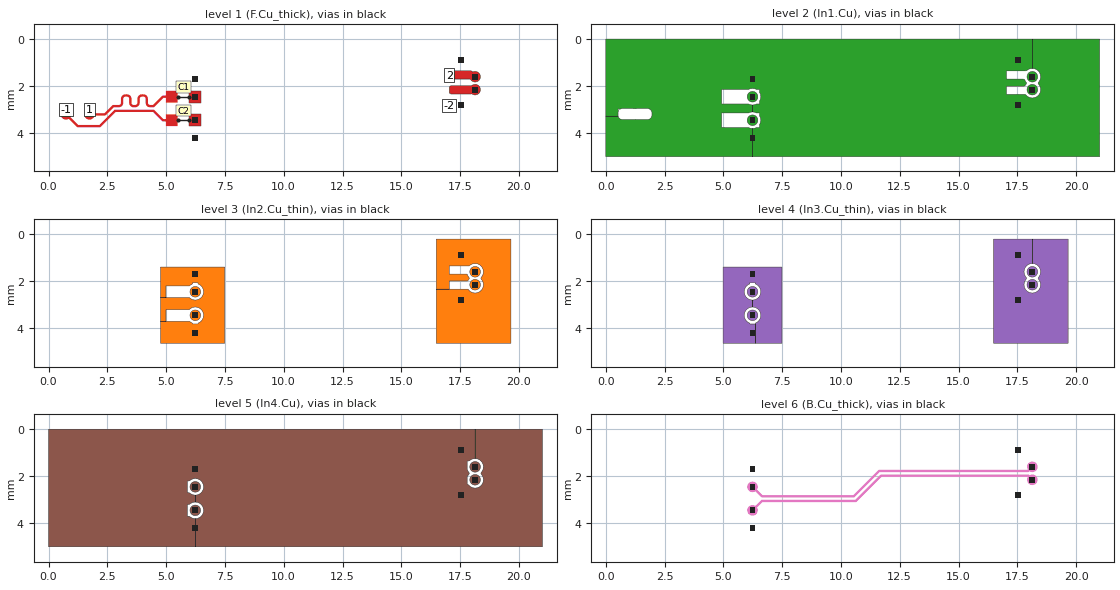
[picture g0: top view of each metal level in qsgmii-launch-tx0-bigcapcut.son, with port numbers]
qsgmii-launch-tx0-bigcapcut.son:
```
FTYP SONPROJ 19 ! Sonnet Project File
VER 18.56
HEADER
LIC antikernel2.1.65565
DAT 12/21/2024 04:26:57
BUILT_BY_CREATED xgeom 18.52 11/18/2021 20:28:07
BUILT_BY_SAVED sonnet 18.56
MDATE 12/21/2024 04:26:54
HDATE 12/21/2024 04:26:54
ANN Created by dxfgeo, Sonnet Software Inc.
END HEADER
DIM
ANG DEG
CAP PF
CON /OH
FREQ GHZ
IND NH
LNG MM
RES OH
END DIM
CONTROL
VARSWP
OPTIONS  -dj
SPEED 1
CACHE_ABS 2
Q_ACC N
END CONTROL
GEO
TMET "Free Space" 0 FREESPACE 376.7303136 0 0 0
BMET "Free Space" 0 FREESPACE 376.7303136 0 0 0
MET "Copper_1oz_thin" 1 NOR 58000000 0.5 0.035 
MET "Copper_1oz_thick" 2 TMM 58000000 0.5 0.035 2
MET "Copper_1oz_thick_down" 3 TMM 58000000 0.5 0.035 2 CDVY TDWN
MET "Copper_0.5oz_thin" 4 NOR 58000000 0.5 0.017 
MET "Copper_0.5oz_thick" 12 TMM 58000000 0.5 0.017 2
MET "Copper_0.5oz_thick_down" 5 TMM 58000000 0.5 0.017 2 CDVY TDWN
BOX 8 21 5 2100 500 20 0
      5 1 1 0 0 0 0 "Air"
      0.04 3.5 1 0.025 0 0 0 "Soldermask"
      0.076 4.49 1 0.016 0 0 0 "Shengyi_S1000-2M"
      0.1 4.49 1 0.016 0 0 0 "Shengyi_S1000-2M"
      1.038 4.49 1 0.016 0 0 0 "Shengyi_S1000-2M"
      0.1 4.49 1 0.016 0 0 0 "Shengyi_S1000-2M"
      0.076 4.49 1 0.016 0 0 0 "Shengyi_S1000-2M"
      0.04 3.5 1 0.025 0 0 0 "Soldermask"
      5 1 1 0 0 0 0 "Air"
TECHLAY METAL F.Cu_thick L1D0 -2 -65534 CAD F.Cu_thick drawing 
1 0 1 N 1184 1 1 100 100 0 0 0 Y
END
END
TECHLAY METAL F.Cu_thin <UNSPECIFIED> -1 -65534 CAD F.Cu_thin drawing 
1 0 0 N 1194 1 1 100 100 0 0 0 Y
END
END
TECHLAY VIA Via1 L7D0 -13 -65534 CAD Via1 drawing 
VIA POLYGON
1 0 -1 N 1196 1 1 100 100 0 0 0 Y
TOLEVEL 6 RING NOCOVERS
END
END
TECHLAY METAL In1.Cu L2D0 -3 -65534 CAD In1.Cu drawing 
2 0 0 N 1203 1 1 100 100 0 0 0 Y
END
END
TECHLAY METAL In2.Cu_thin L3D0 -4 -65534 CAD In2.Cu drawing 
3 0 3 N 1206 1 1 100 100 0 0 0 Y
END
END
TECHLAY METAL In2.Cu_thick <UNSPECIFIED> -5 -65534 CAD In2.Cu_thick drawing 
3 0 4 N 1208 1 1 100 100 0 0 0 Y
END
END
TECHLAY METAL In3.Cu_thin L4D0 -8 -65534 CAD In5.Cu drawing 
4 0 3 N 1211 1 1 100 100 0 0 0 Y
END
END
TECHLAY METAL In4.Cu L5D0 -10 -65534 CAD In6.Cu drawing 
5 0 0 N 1214 1 1 100 100 0 0 0 Y
END
END
TECHLAY METAL B.Cu_thick L6D0 -12 -65534 CAD B.Cu_thick drawing 
6 0 2 N 1217 1 1 100 100 0 0 0 Y
END
END
TECHLAY METAL B.Cu_thin <UNSPECIFIED> -11 -65534 CAD B.Cu_thin drawing 
6 0 0 N 1219 1 1 100 100 0 0 0 Y
END
END
TECHLAY METAL In3.Cu_thick <UNSPECIFIED> -9 -65534 CAD In5.Cu_thick drawing 
8 0 5 N 1223 1 1 100 100 0 0 0 Y
END
END
DIM STD XDIR 1
POS 1.592849197 -0.05143925188
NOM 1.62
REF1 POLY 1245 1
101
REF2 POLY 1245 1
131
END
DIM STD YDIR 1
POS 0.1470518023 0.4870316088
NOM 0.62
REF1 POLY 1245 1
131
REF2 POLY 1245 1
137
END
DIM STD XDIR 1
POS 1.592849197 -0.05143925188
NOM 1.62
REF1 POLY 1245 1
110
REF2 POLY 1245 1
116
END
DIM STD YDIR 1
POS 0.1470518023 0.4870316088
NOM 0.62
REF1 POLY 1245 1
116
REF2 POLY 1245 1
122
END
LORGN 0 5 U 
POR1 CUP Auto
GNDREF FLOAT
TERMW FEED
POLY 36 1
87
2 100 0 0 0 17.038 1.526 
CUPGRP "Auto" LOCAL
ID 1186
END
POR1 CUP Auto
GNDREF FLOAT
TERMW FEED
POLY 37 1
84
-2 100 0 0 0 17.038 2.161 
CUPGRP "Auto" LOCAL
ID 1188
END
POR1 CUP Auto
GNDREF FLOAT
TERMW FEED
POLY 1167 1
472
1 100 0 0 0 1.738 3 
CUPGRP "Auto" LOCAL
ID 1190
END
POR1 CUP Auto
GNDREF FLOAT
TERMW FEED
POLY 1168 1
52
-1 100 0 0 0 0.738 3 
CUPGRP "Auto" LOCAL
ID 1192
END
SMD 1 "C1"
ID 1141
GNDREF FLOAT
SBOX 5.613 5.863 2.4135 2.4885
PBSHW N
LPOS 5.738 2.4135
TYPE IDEAL CAP 100000
SMDP 1 5.488 2.451 L 3 1 
EXSMDP
GNDREF FLOAT
TERMW FEED
END EXSMDP
SMDP 1 5.988 2.451 R 4 2 
EXSMDP
GNDREF FLOAT
TERMW FEED
END EXSMDP
END
SMD 1 "C2"
ID 1146
GNDREF FLOAT
SBOX 5.613 5.863 3.4135 3.4885
PBSHW N
LPOS 5.738 3.4135
TYPE IDEAL CAP 100000
SMDP 1 5.488 3.451 L 5 1 
EXSMDP
GNDREF FLOAT
TERMW FEED
END EXSMDP
SMDP 1 5.988 3.451 R 6 2 
EXSMDP
GNDREF FLOAT
TERMW FEED
END EXSMDP
END
NUM 38
1 89 1 N 36 1 1 100 100 0 0 0 Y
TLAYNAM F.Cu_thick INH
17.038 1.434
17.039 1.426
17.041 1.417
17.043 1.409
17.046 1.401
17.05 1.394
17.055 1.386
17.073 1.368
17.081 1.363
17.088 1.359
17.096 1.356
17.104 1.354
17.113 1.352
17.121 1.351
17.955 1.351
17.963 1.352
17.972 1.354
17.98 1.356
17.988 1.359
17.995 1.363
18.003 1.368
18.021 1.386
18.026 1.394
18.03 1.401
18.031 1.404
18.042 1.398
18.062 1.389
18.083 1.383
18.105 1.378
18.127 1.376
18.149 1.376
18.171 1.378
18.193 1.383
18.214 1.389
18.234 1.398
18.254 1.408
18.272 1.42
18.289 1.434
18.305 1.45
18.319 1.467
18.331 1.485
18.341 1.505
18.35 1.525
18.356 1.546
18.361 1.568
18.363 1.59
18.363 1.612
18.361 1.634
18.356 1.656
18.35 1.677
18.341 1.697
18.331 1.717
18.319 1.735
18.305 1.752
18.289 1.768
18.272 1.782
18.254 1.794
18.234 1.804
18.214 1.813
18.193 1.819
18.171 1.824
18.149 1.826
18.127 1.826
18.105 1.824
18.083 1.819
18.062 1.813
18.042 1.804
18.022 1.794
18.004 1.782
17.987 1.768
17.971 1.752
17.957 1.735
17.945 1.717
17.937 1.701
17.121 1.701
17.113 1.7
17.104 1.698
17.096 1.696
17.088 1.693
17.081 1.689
17.073 1.684
17.055 1.666
17.05 1.658
17.046 1.651
17.043 1.643
17.041 1.635
17.039 1.626
17.038 1.618
17.038 1.434
END
1 86 1 N 37 1 1 100 100 0 0 0 Y
TLAYNAM F.Cu_thick INH
17.038 2.069
17.039 2.061
17.041 2.052
17.043 2.044
17.046 2.036
17.05 2.029
17.055 2.021
17.073 2.003
17.081 1.998
17.088 1.994
17.096 1.991
17.104 1.989
17.113 1.987
17.121 1.986
17.955 1.986
17.963 1.987
17.972 1.989
17.98 1.991
17.987 1.984
18.004 1.97
18.022 1.958
18.042 1.948
18.062 1.939
18.083 1.933
18.105 1.928
18.127 1.926
18.149 1.926
18.171 1.928
18.193 1.933
18.214 1.939
18.234 1.948
18.254 1.958
18.272 1.97
18.289 1.984
18.305 2
18.319 2.017
18.331 2.035
18.341 2.055
18.35 2.075
18.356 2.096
18.361 2.118
18.363 2.14
18.363 2.162
18.361 2.184
18.356 2.206
18.35 2.227
18.341 2.247
18.331 2.267
18.319 2.285
18.305 2.302
18.289 2.318
18.272 2.332
18.254 2.344
18.234 2.354
18.214 2.363
18.193 2.369
18.171 2.374
18.149 2.376
18.127 2.376
18.105 2.374
18.083 2.369
18.062 2.363
18.042 2.354
18.022 2.344
18.004 2.332
17.995 2.324
17.988 2.328
17.98 2.331
17.972 2.333
17.963 2.335
17.955 2.336
17.121 2.336
17.113 2.335
17.104 2.333
17.096 2.331
17.088 2.328
17.081 2.324
17.073 2.319
17.055 2.301
17.05 2.293
17.046 2.286
17.043 2.278
17.041 2.27
17.039 2.261
17.038 2.253
17.038 2.069
END
1 5 1 N 97 1 1 100 100 0 0 0 Y
TLAYNAM F.Cu_thick INH
5.988 2.201
6.488 2.201
6.488 2.701
5.988 2.701
5.988 2.201
END
1 5 1 N 98 1 1 100 100 0 0 0 Y
TLAYNAM F.Cu_thick INH
5.988 3.201
6.488 3.201
6.488 3.701
5.988 3.701
5.988 3.201
END
1 495 1 N 1167 1 1 100 100 0 0 0 Y
TLAYNAM F.Cu_thick INH
1.771 3.424
1.793 3.419
1.814 3.413
1.834 3.404
1.854 3.394
1.872 3.382
1.889 3.368
1.905 3.352
1.919 3.335
1.931 3.317
1.941 3.297
1.95 3.277
1.956 3.256
1.957 3.251
2.404 3.251
2.409 3.25
2.414 3.248
2.418 3.246
2.423 3.244
2.431 3.238
2.768 2.901
2.992 2.901
2.996 2.9
2.997 2.9
3.015 2.898
3.02 2.898
3.025 2.897
3.03 2.895
3.05 2.889
3.051 2.889
3.056 2.887
3.06 2.885
3.065 2.883
3.068 2.881
3.079 2.875
3.08 2.875
3.084 2.873
3.089 2.87
3.093 2.868
3.118 2.847
3.121 2.844
3.122 2.844
3.136 2.826
3.139 2.823
3.145 2.815
3.147 2.81
3.149 2.806
3.158 2.79
3.162 2.782
3.164 2.777
3.165 2.772
3.172 2.75
3.173 2.745
3.173 2.731
3.174 2.723
3.174 2.722
3.175 2.718
3.175 2.53
3.176 2.525
3.182 2.504
3.183 2.501
3.185 2.497
3.197 2.479
3.207 2.469
3.226 2.457
3.232 2.454
3.25 2.45
3.272 2.448
3.328 2.448
3.353 2.45
3.371 2.456
3.384 2.463
3.399 2.475
3.412 2.49
3.416 2.497
3.417 2.501
3.422 2.517
3.425 2.545
3.425 2.718
3.426 2.721
3.426 2.723
3.427 2.742
3.428 2.747
3.431 2.753
3.432 2.756
3.435 2.768
3.436 2.774
3.436 2.775
3.437 2.778
3.438 2.779
3.447 2.797
3.447 2.799
3.449 2.803
3.45 2.804
3.452 2.808
3.452 2.809
3.455 2.813
3.456 2.814
3.468 2.832
3.472 2.835
3.475 2.839
3.478 2.841
3.484 2.847
3.486 2.85
3.487 2.851
3.488 2.851
3.491 2.854
3.491 2.855
3.493 2.856
3.494 2.858
3.499 2.861
3.51 2.868
3.511 2.869
3.513 2.872
3.517 2.874
3.522 2.877
3.548 2.889
3.553 2.891
3.558 2.892
3.574 2.896
3.576 2.897
3.579 2.898
3.58 2.898
3.585 2.899
3.595 2.899
3.603 2.9
3.608 2.901
3.692 2.901
3.696 2.9
3.697 2.9
3.715 2.898
3.72 2.898
3.725 2.897
3.73 2.895
3.75 2.889
3.751 2.889
3.756 2.887
3.76 2.885
3.765 2.883
3.768 2.881
3.779 2.875
3.78 2.875
3.784 2.873
3.789 2.87
3.793 2.868
3.818 2.847
3.821 2.844
3.822 2.844
3.836 2.826
3.839 2.823
3.845 2.815
3.847 2.81
3.849 2.806
3.858 2.79
3.862 2.782
3.864 2.777
3.865 2.772
3.872 2.75
3.873 2.745
3.873 2.731
3.874 2.723
3.874 2.722
3.875 2.718
3.875 2.546
3.877 2.52
3.883 2.502
3.89 2.489
3.898 2.479
3.918 2.462
3.93 2.456
3.948 2.45
3.972 2.448
4.028 2.448
4.053 2.45
4.071 2.456
4.084 2.463
4.099 2.475
4.112 2.49
4.116 2.497
4.117 2.501
4.122 2.517
4.125 2.545
4.125 2.718
4.126 2.721
4.126 2.723
4.127 2.742
4.128 2.747
4.131 2.753
4.132 2.756
4.135 2.768
4.136 2.774
4.136 2.775
4.137 2.778
4.138 2.779
4.147 2.797
4.147 2.799
4.149 2.803
4.15 2.804
4.152 2.808
4.152 2.809
4.155 2.813
4.156 2.814
4.168 2.832
4.172 2.835
4.175 2.839
4.178 2.841
4.184 2.847
4.186 2.85
4.187 2.851
4.188 2.851
4.191 2.854
4.191 2.855
4.193 2.856
4.194 2.858
4.199 2.861
4.21 2.868
4.211 2.869
4.213 2.872
4.217 2.874
4.222 2.877
4.248 2.889
4.253 2.891
4.258 2.892
4.274 2.896
4.276 2.897
4.279 2.898
4.28 2.898
4.285 2.899
4.295 2.899
4.303 2.9
4.308 2.901
4.47 2.901
4.475 2.9
4.48 2.898
4.484 2.896
4.489 2.894
4.497 2.888
4.884 2.501
4.988 2.501
4.988 2.701
5.488 2.701
5.488 2.201
4.988 2.201
4.988 2.401
4.856 2.401
4.851 2.402
4.846 2.404
4.842 2.406
4.837 2.408
4.829 2.414
4.442 2.801
4.322 2.801
4.3 2.799
4.282 2.795
4.276 2.792
4.257 2.78
4.247 2.77
4.235 2.752
4.233 2.748
4.232 2.745
4.226 2.724
4.225 2.718
4.225 2.531
4.224 2.527
4.224 2.526
4.223 2.518
4.223 2.504
4.222 2.499
4.215 2.477
4.214 2.472
4.212 2.467
4.208 2.459
4.199 2.443
4.197 2.439
4.195 2.434
4.189 2.426
4.186 2.423
4.172 2.405
4.171 2.405
4.168 2.402
4.143 2.381
4.139 2.379
4.134 2.376
4.13 2.374
4.129 2.374
4.118 2.368
4.115 2.366
4.11 2.364
4.106 2.362
4.075 2.352
4.07 2.351
4.065 2.351
4.047 2.349
4.046 2.349
4.042 2.348
3.958 2.348
3.954 2.349
3.953 2.349
3.931 2.351
3.93 2.351
3.926 2.352
3.921 2.354
3.918 2.355
3.915 2.355
3.905 2.359
3.903 2.359
3.9 2.36
3.89 2.364
3.886 2.366
3.883 2.368
3.871 2.375
3.867 2.377
3.862 2.379
3.854 2.385
3.851 2.388
3.841 2.396
3.84 2.396
3.832 2.402
3.829 2.405
3.808 2.43
3.806 2.434
3.803 2.439
3.801 2.443
3.801 2.444
3.795 2.455
3.793 2.458
3.791 2.463
3.789 2.467
3.787 2.472
3.787 2.473
3.779 2.498
3.779 2.499
3.778 2.504
3.778 2.508
3.776 2.526
3.776 2.527
3.775 2.531
3.775 2.704
3.772 2.732
3.767 2.748
3.766 2.752
3.762 2.759
3.749 2.774
3.734 2.786
3.721 2.793
3.703 2.799
3.678 2.801
3.622 2.801
3.6 2.799
3.582 2.795
3.576 2.792
3.557 2.78
3.547 2.77
3.535 2.752
3.533 2.748
3.532 2.745
3.526 2.724
3.525 2.718
3.525 2.531
3.524 2.527
3.524 2.526
3.523 2.518
3.523 2.504
3.522 2.499
3.515 2.477
3.514 2.472
3.512 2.467
3.508 2.459
3.499 2.443
3.497 2.439
3.495 2.434
3.489 2.426
3.486 2.423
3.472 2.405
3.471 2.405
3.468 2.402
3.443 2.381
3.439 2.379
3.434 2.376
3.43 2.374
3.429 2.374
3.418 2.368
3.415 2.366
3.41 2.364
3.406 2.362
3.401 2.36
3.4 2.36
3.38 2.354
3.375 2.352
3.37 2.351
3.365 2.351
3.347 2.349
3.346 2.349
3.342 2.348
3.258 2.348
3.253 2.349
3.245 2.35
3.235 2.35
3.23 2.351
3.229 2.351
3.226 2.352
3.224 2.353
3.208 2.357
3.203 2.358
3.198 2.36
3.172 2.372
3.167 2.375
3.163 2.377
3.161 2.38
3.16 2.381
3.149 2.388
3.144 2.391
3.143 2.393
3.141 2.394
3.141 2.395
3.138 2.397
3.136 2.399
3.134 2.402
3.128 2.408
3.125 2.41
3.122 2.414
3.118 2.417
3.106 2.435
3.105 2.436
3.102 2.44
3.102 2.441
3.1 2.445
3.099 2.446
3.097 2.45
3.097 2.452
3.088 2.47
3.087 2.471
3.086 2.474
3.086 2.475
3.085 2.481
3.082 2.493
3.081 2.496
3.078 2.502
3.077 2.507
3.076 2.526
3.076 2.528
3.075 2.531
3.075 2.704
3.072 2.732
3.067 2.748
3.066 2.752
3.062 2.759
3.049 2.774
3.034 2.786
3.021 2.793
3.003 2.799
2.978 2.801
2.739 2.801
2.734 2.802
2.729 2.804
2.725 2.806
2.72 2.808
2.716 2.811
2.713 2.814
2.709 2.817
2.706 2.821
2.376 3.151
1.957 3.151
1.956 3.146
1.95 3.125
1.941 3.105
1.931 3.085
1.919 3.067
1.905 3.05
1.889 3.034
1.872 3.02
1.854 3.008
1.838 3
1.638 3
1.622 3.008
1.604 3.02
1.587 3.034
1.571 3.05
1.557 3.067
1.545 3.085
1.54 3.095
1.54 3.307
1.545 3.317
1.557 3.335
1.571 3.352
1.587 3.368
1.604 3.382
1.622 3.394
1.642 3.404
1.662 3.413
1.683 3.419
1.705 3.424
1.727 3.426
1.749 3.426
1.771 3.424
END
1 87 1 N 1168 1 1 100 100 0 0 0 Y
TLAYNAM F.Cu_thick INH
2.192 3.75
2.196 3.748
2.201 3.746
2.205 3.744
2.217 3.735
2.22 3.731
2.85 3.101
4.442 3.101
4.829 3.488
4.837 3.494
4.842 3.496
4.846 3.498
4.851 3.5
4.856 3.501
4.988 3.501
4.988 3.701
5.488 3.701
5.488 3.201
4.988 3.201
4.988 3.401
4.884 3.401
4.497 3.014
4.489 3.008
4.484 3.006
4.48 3.004
4.475 3.002
4.47 3.001
2.822 3.001
2.817 3.002
2.812 3.004
2.808 3.006
2.803 3.008
2.795 3.014
2.158 3.651
1.259 3.651
0.929 3.321
0.941 3.297
0.95 3.277
0.956 3.256
0.961 3.234
0.963 3.212
0.963 3.19
0.961 3.168
0.956 3.146
0.95 3.125
0.941 3.105
0.931 3.085
0.919 3.067
0.905 3.05
0.889 3.034
0.872 3.02
0.854 3.008
0.838 3
0.638 3
0.622 3.008
0.604 3.02
0.587 3.034
0.571 3.05
0.557 3.067
0.545 3.085
0.54 3.095
0.54 3.307
0.545 3.317
0.557 3.335
0.571 3.352
0.587 3.368
0.604 3.382
0.622 3.394
0.642 3.404
0.662 3.413
0.683 3.419
0.705 3.424
0.727 3.426
0.749 3.426
0.771 3.424
0.793 3.419
0.814 3.413
0.834 3.404
0.858 3.392
1.204 3.738
1.212 3.744
1.217 3.746
1.221 3.748
1.226 3.75
1.231 3.751
2.187 3.751
2.192 3.75
END
VIA POLYGON
1 5 -1 N 806 1 1 100 100 0 0 0 Y
TOLEVEL 6 RING NOCOVERS
TLAYNAM Via1 INH
17.413 0.766
17.663 0.766
17.663 1.016
17.413 1.016
17.413 0.766
END
VIA POLYGON
1 5 -1 N 807 1 1 100 100 0 0 0 Y
TOLEVEL 6 RING NOCOVERS
TLAYNAM Via1 INH
17.413 2.671
17.663 2.671
17.663 2.921
17.413 2.921
17.413 2.671
END
VIA POLYGON
1 5 -1 N 811 1 1 100 100 0 0 0 Y
TOLEVEL 6 RING NOCOVERS
TLAYNAM Via1 INH
18.013 1.476
18.263 1.476
18.263 1.726
18.013 1.726
18.013 1.476
END
VIA POLYGON
1 5 -1 N 812 1 1 100 100 0 0 0 Y
TOLEVEL 6 RING NOCOVERS
TLAYNAM Via1 INH
18.013 2.026
18.263 2.026
18.263 2.276
18.013 2.276
18.013 2.026
END
VIA POLYGON
1 5 -1 N 865 1 1 100 100 0 0 0 Y
TOLEVEL 6 RING NOCOVERS
TLAYNAM Via1 INH
6.113 1.576
6.363 1.576
6.363 1.826
6.113 1.826
6.113 1.576
END
VIA POLYGON
1 5 -1 N 866 1 1 100 100 0 0 0 Y
TOLEVEL 6 RING NOCOVERS
TLAYNAM Via1 INH
6.113 2.326
6.363 2.326
6.363 2.576
6.113 2.576
6.113 2.326
END
VIA POLYGON
1 5 -1 N 867 1 1 100 100 0 0 0 Y
TOLEVEL 6 RING NOCOVERS
TLAYNAM Via1 INH
6.113 3.326
6.363 3.326
6.363 3.576
6.113 3.576
6.113 3.326
END
VIA POLYGON
1 5 -1 N 868 1 1 100 100 0 0 0 Y
TOLEVEL 6 RING NOCOVERS
TLAYNAM Via1 INH
6.113 4.076
6.363 4.076
6.363 4.326
6.113 4.326
6.113 4.076
END
2 65 0 N 309 1 1 100 100 0 0 0 Y
TLAYNAM In1.Cu INH
6.013 2.44
6.015 2.418
6.02 2.396
6.026 2.375
6.035 2.355
6.045 2.335
6.057 2.317
6.071 2.3
6.087 2.284
6.104 2.27
6.122 2.258
6.142 2.248
6.162 2.239
6.183 2.233
6.205 2.228
6.227 2.226
6.249 2.226
6.271 2.228
6.293 2.233
6.314 2.239
6.334 2.248
6.354 2.258
6.372 2.27
6.389 2.284
6.405 2.3
6.419 2.317
6.431 2.335
6.441 2.355
6.45 2.375
6.456 2.396
6.461 2.418
6.463 2.44
6.463 2.462
6.461 2.484
6.456 2.506
6.45 2.527
6.441 2.547
6.431 2.567
6.419 2.585
6.405 2.602
6.389 2.618
6.372 2.632
6.354 2.644
6.334 2.654
6.314 2.663
6.293 2.669
6.271 2.674
6.249 2.676
6.227 2.676
6.205 2.674
6.183 2.669
6.162 2.663
6.142 2.654
6.122 2.644
6.104 2.632
6.087 2.618
6.071 2.602
6.057 2.585
6.045 2.567
6.035 2.547
6.026 2.527
6.02 2.506
6.015 2.484
6.013 2.462
6.013 2.44
END
2 65 0 N 310 1 1 100 100 0 0 0 Y
TLAYNAM In1.Cu INH
6.013 3.44
6.015 3.418
6.02 3.396
6.026 3.375
6.035 3.355
6.045 3.335
6.057 3.317
6.071 3.3
6.087 3.284
6.104 3.27
6.122 3.258
6.142 3.248
6.162 3.239
6.183 3.233
6.205 3.228
6.227 3.226
6.249 3.226
6.271 3.228
6.293 3.233
6.314 3.239
6.334 3.248
6.354 3.258
6.372 3.27
6.389 3.284
6.405 3.3
6.419 3.317
6.431 3.335
6.441 3.355
6.45 3.375
6.456 3.396
6.461 3.418
6.463 3.44
6.463 3.462
6.461 3.484
6.456 3.506
6.45 3.527
6.441 3.547
6.431 3.567
6.419 3.585
6.405 3.602
6.389 3.618
6.372 3.632
6.354 3.644
6.334 3.654
6.314 3.663
6.293 3.669
6.271 3.674
6.249 3.676
6.227 3.676
6.205 3.674
6.183 3.669
6.162 3.663
6.142 3.654
6.122 3.644
6.104 3.632
6.087 3.618
6.071 3.602
6.057 3.585
6.045 3.567
6.035 3.547
6.026 3.527
6.02 3.506
6.015 3.484
6.013 3.462
6.013 3.44
END
2 65 0 N 315 1 1 100 100 0 0 0 Y
TLAYNAM In1.Cu INH
17.913 1.59
17.915 1.568
17.92 1.546
17.926 1.525
17.935 1.505
17.945 1.485
17.957 1.467
17.971 1.45
17.987 1.434
18.004 1.42
18.022 1.408
18.042 1.398
18.062 1.389
18.083 1.383
18.105 1.378
18.127 1.376
18.149 1.376
18.171 1.378
18.193 1.383
18.214 1.389
18.234 1.398
18.254 1.408
18.272 1.42
18.289 1.434
18.305 1.45
18.319 1.467
18.331 1.485
18.341 1.505
18.35 1.525
18.356 1.546
18.361 1.568
18.363 1.59
18.363 1.612
18.361 1.634
18.356 1.656
18.35 1.677
18.341 1.697
18.331 1.717
18.319 1.735
18.305 1.752
18.289 1.768
18.272 1.782
18.254 1.794
18.234 1.804
18.214 1.813
18.193 1.819
18.171 1.824
18.149 1.826
18.127 1.826
18.105 1.824
18.083 1.819
18.062 1.813
18.042 1.804
18.022 1.794
18.004 1.782
17.987 1.768
17.971 1.752
17.957 1.735
17.945 1.717
17.935 1.697
17.926 1.677
17.92 1.656
17.915 1.634
17.913 1.612
17.913 1.59
END
2 65 0 N 316 1 1 100 100 0 0 0 Y
TLAYNAM In1.Cu INH
17.913 2.14
17.915 2.118
17.92 2.096
17.926 2.075
17.935 2.055
17.945 2.035
17.957 2.017
17.971 2
17.987 1.984
18.004 1.97
18.022 1.958
18.042 1.948
18.062 1.939
18.083 1.933
18.105 1.928
18.127 1.926
18.149 1.926
18.171 1.928
18.193 1.933
18.214 1.939
18.234 1.948
18.254 1.958
18.272 1.97
18.289 1.984
18.305 2
18.319 2.017
18.331 2.035
18.341 2.055
18.35 2.075
18.356 2.096
18.361 2.118
18.363 2.14
18.363 2.162
18.361 2.184
18.356 2.206
18.35 2.227
18.341 2.247
18.331 2.267
18.319 2.285
18.305 2.302
18.289 2.318
18.272 2.332
18.254 2.344
18.234 2.354
18.214 2.363
18.193 2.369
18.171 2.374
18.149 2.376
18.127 2.376
18.105 2.374
18.083 2.369
18.062 2.363
18.042 2.354
18.022 2.344
18.004 2.332
17.987 2.318
17.971 2.302
17.957 2.285
17.945 2.267
17.935 2.247
17.926 2.227
17.92 2.206
17.915 2.184
17.913 2.162
17.913 2.14
END
2 145 0 N 1245 1 1 100 100 0 0 0 Y
TLAYNAM In1.Cu INH
21 4.64
21 0.46
21 0
18.138 0
18.138 1.246
18.248 1.263
18.347 1.314
18.425 1.392
18.476 1.491
18.493 1.601
18.476 1.711
18.425 1.81
18.402 1.833
18.384 1.876
18.402 1.919
18.425 1.942
18.476 2.041
18.493 2.151
18.476 2.261
18.425 2.36
18.347 2.438
18.321 2.451
18.248 2.489
18.138 2.506
18.028 2.489
17.965 2.456
17.929 2.438
17.86 2.369
17.817 2.351
17.038 2.351
17.038 2.001
17.783 2.001
17.802 1.998
17.838 1.967
17.851 1.942
17.874 1.919
17.892 1.876
17.874 1.833
17.851 1.81
17.813 1.735
17.801 1.719
17.758 1.701
17.038 1.701
17.038 1.351
17.867 1.351
17.91 1.333
17.929 1.314
18.028 1.263
18.138 1.246
18.138 0
0 0
0 3.277166667
0.52 3.277166667
0.52 3.099631579
0.534 3.065
0.536 3.06
0.532 3.013
0.52 3.003
0.52 2.951
0.5368235294 2.951
0.564 2.979
0.611 2.979
0.674 2.953
0.713 2.951
1.188 2.951
1.188 2.96
1.288 2.96
1.288 2.951
1.763 2.951
1.802 2.953
1.875 2.983
1.931 3.039
1.961 3.112
1.962 3.139
1.963 3.151
1.963 3.226
1.962 3.239
1.961 3.265
1.931 3.338
1.875 3.394
1.802 3.424
1.763 3.426
1.288 3.426
1.288 3.42
1.188 3.42
1.188 3.426
0.713 3.426
0.674 3.424
0.601 3.394
0.545 3.338
0.52 3.277166667
0 3.277166667
0 3.277166667
0 3.84
0 5
6.238 5
6.238 3.806
6.128 3.789
6.103 3.776
6.071842105 3.76
4.92 3.76
4.92 3.14
6.075588235 3.14
6.128 3.113
6.238 3.096
6.238 2.806
6.128 2.789
6.103 2.776
6.071842105 2.76
4.92 2.76
4.92 2.14
6.075588235 2.14
6.128 2.113
6.238 2.096
6.348 2.113
6.400411765 2.14
6.54 2.14
6.54 2.271117647
6.576 2.341
6.593 2.451
6.576 2.561
6.54 2.630882353
6.54 2.76
6.403628571 2.76
6.378 2.773
6.348 2.789
6.238 2.806
6.238 2.806
6.238 3.096
6.348 3.113
6.400411765 3.14
6.54 3.14
6.54 3.271117647
6.576 3.341
6.593 3.451
6.576 3.561
6.54 3.630882353
6.54 3.76
6.403628571 3.76
6.378 3.773
6.348 3.789
6.238 3.806
6.238 5
21 5
21 4.64
END
3 65 3 N 1124 1 1 100 100 0 0 0 Y
TLAYNAM In2.Cu_thin INH
6.013 2.44
6.015 2.418
6.02 2.396
6.026 2.375
6.035 2.355
6.045 2.335
6.057 2.317
6.071 2.3
6.087 2.284
6.104 2.27
6.122 2.258
6.142 2.248
6.162 2.239
6.183 2.233
6.205 2.228
6.227 2.226
6.249 2.226
6.271 2.228
6.293 2.233
6.314 2.239
6.334 2.248
6.354 2.258
6.372 2.27
6.389 2.284
6.405 2.3
6.419 2.317
6.431 2.335
6.441 2.355
6.45 2.375
6.456 2.396
6.461 2.418
6.463 2.44
6.463 2.462
6.461 2.484
6.456 2.506
6.45 2.527
6.441 2.547
6.431 2.567
6.419 2.585
6.405 2.602
6.389 2.618
6.372 2.632
6.354 2.644
6.334 2.654
6.314 2.663
6.293 2.669
6.271 2.674
6.249 2.676
6.227 2.676
6.205 2.674
6.183 2.669
6.162 2.663
6.142 2.654
6.122 2.644
6.104 2.632
6.087 2.618
6.071 2.602
6.057 2.585
6.045 2.567
6.035 2.547
6.026 2.527
6.02 2.506
6.015 2.484
6.013 2.462
6.013 2.44
END
3 65 3 N 1127 1 1 100 100 0 0 0 Y
TLAYNAM In2.Cu_thin INH
17.913 2.14
17.915 2.118
17.92 2.096
17.926 2.075
17.935 2.055
17.945 2.035
17.957 2.017
17.971 2
17.987 1.984
18.004 1.97
18.022 1.958
18.042 1.948
18.062 1.939
18.083 1.933
18.105 1.928
18.127 1.926
18.149 1.926
18.171 1.928
18.193 1.933
18.214 1.939
18.234 1.948
18.254 1.958
18.272 1.97
18.289 1.984
18.305 2
18.319 2.017
18.331 2.035
18.341 2.055
18.35 2.075
18.356 2.096
18.361 2.118
18.363 2.14
18.363 2.162
18.361 2.184
18.356 2.206
18.35 2.227
18.341 2.247
18.331 2.267
18.319 2.285
18.305 2.302
18.289 2.318
18.272 2.332
18.254 2.344
18.234 2.354
18.214 2.363
18.193 2.369
18.171 2.374
18.149 2.376
18.127 2.376
18.105 2.374
18.083 2.369
18.062 2.363
18.042 2.354
18.022 2.344
18.004 2.332
17.987 2.318
17.971 2.302
17.957 2.285
17.945 2.267
17.935 2.247
17.926 2.227
17.92 2.206
17.915 2.184
17.913 2.162
17.913 2.14
END
3 65 3 N 1128 1 1 100 100 0 0 0 Y
TLAYNAM In2.Cu_thin INH
6.013 3.44
6.015 3.418
6.02 3.396
6.026 3.375
6.035 3.355
6.045 3.335
6.057 3.317
6.071 3.3
6.087 3.284
6.104 3.27
6.122 3.258
6.142 3.248
6.162 3.239
6.183 3.233
6.205 3.228
6.227 3.226
6.249 3.226
6.271 3.228
6.293 3.233
6.314 3.239
6.334 3.248
6.354 3.258
6.372 3.27
6.389 3.284
6.405 3.3
6.419 3.317
6.431 3.335
6.441 3.355
6.45 3.375
6.456 3.396
6.461 3.418
6.463 3.44
6.463 3.462
6.461 3.484
6.456 3.506
6.45 3.527
6.441 3.547
6.431 3.567
6.419 3.585
6.405 3.602
6.389 3.618
6.372 3.632
6.354 3.644
6.334 3.654
6.314 3.663
6.293 3.669
6.271 3.674
6.249 3.676
6.227 3.676
6.205 3.674
6.183 3.669
6.162 3.663
6.142 3.654
6.122 3.644
6.104 3.632
6.087 3.618
6.071 3.602
6.057 3.585
6.045 3.567
6.035 3.547
6.026 3.527
6.02 3.506
6.015 3.484
6.013 3.462
6.013 3.44
END
3 65 3 N 1129 1 1 100 100 0 0 0 Y
TLAYNAM In2.Cu_thin INH
17.913 1.59
17.915 1.568
17.92 1.546
17.926 1.525
17.935 1.505
17.945 1.485
17.957 1.467
17.971 1.45
17.987 1.434
18.004 1.42
18.022 1.408
18.042 1.398
18.062 1.389
18.083 1.383
18.105 1.378
18.127 1.376
18.149 1.376
18.171 1.378
18.193 1.383
18.214 1.389
18.234 1.398
18.254 1.408
18.272 1.42
18.289 1.434
18.305 1.45
18.319 1.467
18.331 1.485
18.341 1.505
18.35 1.525
18.356 1.546
18.361 1.568
18.363 1.59
18.363 1.612
18.361 1.634
18.356 1.656
18.35 1.677
18.341 1.697
18.331 1.717
18.319 1.735
18.305 1.752
18.289 1.768
18.272 1.782
18.254 1.794
18.234 1.804
18.214 1.813
18.193 1.819
18.171 1.824
18.149 1.826
18.127 1.826
18.105 1.824
18.083 1.819
18.062 1.813
18.042 1.804
18.022 1.794
18.004 1.782
17.987 1.768
17.971 1.752
17.957 1.735
17.945 1.717
17.935 1.697
17.926 1.677
17.92 1.656
17.915 1.634
17.913 1.612
17.913 1.59
END
3 68 3 N 1231 1 1 100 100 0 0 0 Y
TLAYNAM In2.Cu_thin INH
7.488 1.4
4.76 1.4
4.76 2.701
4.988 2.701
4.988 2.201
5.992 2.201
6.029 2.164
6.094 2.131
6.121 2.104
6.124744681 2.06
6.353978723 2.06
6.351 2.095
6.382 2.131
6.447 2.164
6.484 2.201
6.488 2.201
6.488 2.205
6.525 2.242
6.576 2.341
6.593 2.451
6.576 2.561
6.525 2.66
6.488 2.697
6.488 2.701
6.484 2.701
6.447 2.738
6.378 2.773
6.348 2.789
6.238 2.806
6.128 2.789
6.057 2.752
6.029 2.738
5.992 2.701
4.988 2.701
4.76 2.701
4.76 2.701
4.76 3.709
4.991 3.709
4.991 3.209
5.984 3.209
6.029 3.164
6.128 3.113
6.238 3.096
6.348 3.113
6.447 3.164
6.525 3.242
6.576 3.341
6.593 3.451
6.576 3.561
6.525 3.66
6.491 3.694
6.491 3.709
6.476 3.709
6.447 3.738
6.382 3.771
6.355 3.798
6.35312766 3.82
6.123893617 3.82
6.125 3.807
6.094 3.771
6.057 3.752
6.029 3.738
6 3.709
4.991 3.709
4.76 3.709
4.76 4.64
7.488 4.64
7.488 1.4
END
3 49 3 N 1235 1 1 100 100 0 0 0 Y
TLAYNAM In2.Cu_thin INH
19.66 0.212
16.488 0.212
16.488 2.34
17.038 2.34
17.038 1.991
17.82575758 1.991
17.851 1.942
17.874 1.919
17.892 1.876
17.874 1.833
17.851 1.81
17.8 1.711
17.7983 1.7
17.038 1.7
17.038 1.351
17.892 1.351
17.929 1.314
18.028 1.263
18.138 1.246
18.248 1.263
18.347 1.314
18.425 1.392
18.476 1.491
18.493 1.601
18.476 1.711
18.425 1.81
18.402 1.833
18.384 1.876
18.402 1.919
18.425 1.942
18.476 2.041
18.493 2.151
18.476 2.261
18.425 2.36
18.347 2.438
18.321 2.451
18.248 2.489
18.138 2.506
18.028 2.489
17.965 2.456
17.929 2.438
17.851 2.36
17.84069697 2.34
17.038 2.34
16.488 2.34
16.488 2.34
16.488 4.64
19.66 4.64
19.66 0.212
END
4 65 3 N 451 1 1 100 100 0 0 0 Y
TLAYNAM In3.Cu_thin INH
17.913 1.59
17.915 1.568
17.92 1.546
17.926 1.525
17.935 1.505
17.945 1.485
17.957 1.467
17.971 1.45
17.987 1.434
18.004 1.42
18.022 1.408
18.042 1.398
18.062 1.389
18.083 1.383
18.105 1.378
18.127 1.376
18.149 1.376
18.171 1.378
18.193 1.383
18.214 1.389
18.234 1.398
18.254 1.408
18.272 1.42
18.289 1.434
18.305 1.45
18.319 1.467
18.331 1.485
18.341 1.505
18.35 1.525
18.356 1.546
18.361 1.568
18.363 1.59
18.363 1.612
18.361 1.634
18.356 1.656
18.35 1.677
18.341 1.697
18.331 1.717
18.319 1.735
18.305 1.752
18.289 1.768
18.272 1.782
18.254 1.794
18.234 1.804
18.214 1.813
18.193 1.819
18.171 1.824
18.149 1.826
18.127 1.826
18.105 1.824
18.083 1.819
18.062 1.813
18.042 1.804
18.022 1.794
18.004 1.782
17.987 1.768
17.971 1.752
17.957 1.735
17.945 1.717
17.935 1.697
17.926 1.677
17.92 1.656
17.915 1.634
17.913 1.612
17.913 1.59
END
4 65 3 N 452 1 1 100 100 0 0 0 Y
TLAYNAM In3.Cu_thin INH
17.913 2.14
17.915 2.118
17.92 2.096
17.926 2.075
17.935 2.055
17.945 2.035
17.957 2.017
17.971 2
17.987 1.984
18.004 1.97
18.022 1.958
18.042 1.948
18.062 1.939
18.083 1.933
18.105 1.928
18.127 1.926
18.149 1.926
18.171 1.928
18.193 1.933
18.214 1.939
18.234 1.948
18.254 1.958
18.272 1.97
18.289 1.984
18.305 2
18.319 2.017
18.331 2.035
18.341 2.055
18.35 2.075
18.356 2.096
18.361 2.118
18.363 2.14
18.363 2.162
18.361 2.184
18.356 2.206
18.35 2.227
18.341 2.247
18.331 2.267
18.319 2.285
18.305 2.302
18.289 2.318
18.272 2.332
18.254 2.344
18.234 2.354
18.214 2.363
18.193 2.369
18.171 2.374
18.149 2.376
18.127 2.376
18.105 2.374
18.083 2.369
18.062 2.363
18.042 2.354
18.022 2.344
18.004 2.332
17.987 2.318
17.971 2.302
17.957 2.285
17.945 2.267
17.935 2.247
17.926 2.227
17.92 2.206
17.915 2.184
17.913 2.162
17.913 2.14
END
4 65 3 N 496 1 1 100 100 0 0 0 Y
TLAYNAM In3.Cu_thin INH
6.013 2.44
6.015 2.418
6.02 2.396
6.026 2.375
6.035 2.355
6.045 2.335
6.057 2.317
6.071 2.3
6.087 2.284
6.104 2.27
6.122 2.258
6.142 2.248
6.162 2.239
6.183 2.233
6.205 2.228
6.227 2.226
6.249 2.226
6.271 2.228
6.293 2.233
6.314 2.239
6.334 2.248
6.354 2.258
6.372 2.27
6.389 2.284
6.405 2.3
6.419 2.317
6.431 2.335
6.441 2.355
6.45 2.375
6.456 2.396
6.461 2.418
6.463 2.44
6.463 2.462
6.461 2.484
6.456 2.506
6.45 2.527
6.441 2.547
6.431 2.567
6.419 2.585
6.405 2.602
6.389 2.618
6.372 2.632
6.354 2.644
6.334 2.654
6.314 2.663
6.293 2.669
6.271 2.674
6.249 2.676
6.227 2.676
6.205 2.674
6.183 2.669
6.162 2.663
6.142 2.654
6.122 2.644
6.104 2.632
6.087 2.618
6.071 2.602
6.057 2.585
6.045 2.567
6.035 2.547
6.026 2.527
6.02 2.506
6.015 2.484
6.013 2.462
6.013 2.44
END
4 65 3 N 497 1 1 100 100 0 0 0 Y
TLAYNAM In3.Cu_thin INH
6.013 3.44
6.015 3.418
6.02 3.396
6.026 3.375
6.035 3.355
6.045 3.335
6.057 3.317
6.071 3.3
6.087 3.284
6.104 3.27
6.122 3.258
6.142 3.248
6.162 3.239
6.183 3.233
6.205 3.228
6.227 3.226
6.249 3.226
6.271 3.228
6.293 3.233
6.314 3.239
6.334 3.248
6.354 3.258
6.372 3.27
6.389 3.284
6.405 3.3
6.419 3.317
6.431 3.335
6.441 3.355
6.45 3.375
6.456 3.396
6.461 3.418
6.463 3.44
6.463 3.462
6.461 3.484
6.456 3.506
6.45 3.527
6.441 3.547
6.431 3.567
6.419 3.585
6.405 3.602
6.389 3.618
6.372 3.632
6.354 3.644
6.334 3.654
6.314 3.663
6.293 3.669
6.271 3.674
6.249 3.676
6.227 3.676
6.205 3.674
6.183 3.669
6.162 3.663
6.142 3.654
6.122 3.644
6.104 3.632
6.087 3.618
6.071 3.602
6.057 3.585
6.045 3.567
6.035 3.547
6.026 3.527
6.02 3.506
6.015 3.484
6.013 3.462
6.013 3.44
END
4 46 3 N 1112 1 1 100 100 0 0 0 Y
TLAYNAM In3.Cu_thin INH
19.66 0.212
18.138 0.212
18.138 1.246
18.248 1.263
18.347 1.314
18.425 1.392
18.476 1.491
18.493 1.601
18.476 1.711
18.425 1.81
18.402 1.833
18.384 1.876
18.402 1.919
18.425 1.942
18.476 2.041
18.493 2.151
18.476 2.261
18.425 2.36
18.347 2.438
18.321 2.451
18.248 2.489
18.138 2.506
18.028 2.489
17.965 2.456
17.929 2.438
17.851 2.36
17.8 2.261
17.783 2.151
17.8 2.041
17.851 1.942
17.874 1.919
17.892 1.876
17.874 1.833
17.851 1.81
17.8 1.711
17.783 1.601
17.8 1.491
17.851 1.392
17.929 1.314
18.028 1.263
18.138 1.246
18.138 0.212
16.488 0.212
16.488 4.64
19.66 4.64
19.66 0.212
END
4 60 3 N 1123 1 1 100 100 0 0 0 Y
TLAYNAM In3.Cu_thin INH
7.488 1.4
4.988 1.4
4.988 4.64
6.35312766 4.64
6.35312766 3.82
6.123893617 3.82
6.125 3.807
6.094 3.771
6.057 3.752
6.029 3.738
5.951 3.66
5.9 3.561
5.883 3.451
5.9 3.341
5.951 3.242
6.029 3.164
6.128 3.113
6.238 3.096
6.238 2.806
6.128 2.789
6.057 2.752
6.029 2.738
5.951 2.66
5.9 2.561
5.883 2.451
5.9 2.341
5.951 2.242
6.029 2.164
6.094 2.131
6.121 2.104
6.124744681 2.06
6.353978723 2.06
6.351 2.095
6.382 2.131
6.447 2.164
6.525 2.242
6.576 2.341
6.593 2.451
6.576 2.561
6.525 2.66
6.447 2.738
6.378 2.773
6.348 2.789
6.238 2.806
6.238 2.806
6.238 3.096
6.348 3.113
6.447 3.164
6.525 3.242
6.576 3.341
6.593 3.451
6.576 3.561
6.525 3.66
6.447 3.738
6.382 3.771
6.355 3.798
6.35312766 3.82
6.35312766 4.64
7.488 4.64
7.488 1.4
END
5 65 0 N 1130 1 1 100 100 0 0 0 Y
TLAYNAM In4.Cu INH
17.913 2.14
17.915 2.118
17.92 2.096
17.926 2.075
17.935 2.055
17.945 2.035
17.957 2.017
17.971 2
17.987 1.984
18.004 1.97
18.022 1.958
18.042 1.948
18.062 1.939
18.083 1.933
18.105 1.928
18.127 1.926
18.149 1.926
18.171 1.928
18.193 1.933
18.214 1.939
18.234 1.948
18.254 1.958
18.272 1.97
18.289 1.984
18.305 2
18.319 2.017
18.331 2.035
18.341 2.055
18.35 2.075
18.356 2.096
18.361 2.118
18.363 2.14
18.363 2.162
18.361 2.184
18.356 2.206
18.35 2.227
18.341 2.247
18.331 2.267
18.319 2.285
18.305 2.302
18.289 2.318
18.272 2.332
18.254 2.344
18.234 2.354
18.214 2.363
18.193 2.369
18.171 2.374
18.149 2.376
18.127 2.376
18.105 2.374
18.083 2.369
18.062 2.363
18.042 2.354
18.022 2.344
18.004 2.332
17.987 2.318
17.971 2.302
17.957 2.285
17.945 2.267
17.935 2.247
17.926 2.227
17.92 2.206
17.915 2.184
17.913 2.162
17.913 2.14
END
5 65 0 N 1131 1 1 100 100 0 0 0 Y
TLAYNAM In4.Cu INH
6.013 2.44
6.015 2.418
6.02 2.396
6.026 2.375
6.035 2.355
6.045 2.335
6.057 2.317
6.071 2.3
6.087 2.284
6.104 2.27
6.122 2.258
6.142 2.248
6.162 2.239
6.183 2.233
6.205 2.228
6.227 2.226
6.249 2.226
6.271 2.228
6.293 2.233
6.314 2.239
6.334 2.248
6.354 2.258
6.372 2.27
6.389 2.284
6.405 2.3
6.419 2.317
6.431 2.335
6.441 2.355
6.45 2.375
6.456 2.396
6.461 2.418
6.463 2.44
6.463 2.462
6.461 2.484
6.456 2.506
6.45 2.527
6.441 2.547
6.431 2.567
6.419 2.585
6.405 2.602
6.389 2.618
6.372 2.632
6.354 2.644
6.334 2.654
6.314 2.663
6.293 2.669
6.271 2.674
6.249 2.676
6.227 2.676
6.205 2.674
6.183 2.669
6.162 2.663
6.142 2.654
6.122 2.644
6.104 2.632
6.087 2.618
6.071 2.602
6.057 2.585
6.045 2.567
6.035 2.547
6.026 2.527
6.02 2.506
6.015 2.484
6.013 2.462
6.013 2.44
END
5 65 0 N 1132 1 1 100 100 0 0 0 Y
TLAYNAM In4.Cu INH
17.913 1.59
17.915 1.568
17.92 1.546
17.926 1.525
17.935 1.505
17.945 1.485
17.957 1.467
17.971 1.45
17.987 1.434
18.004 1.42
18.022 1.408
18.042 1.398
18.062 1.389
18.083 1.383
18.105 1.378
18.127 1.376
18.149 1.376
18.171 1.378
18.193 1.383
18.214 1.389
18.234 1.398
18.254 1.408
18.272 1.42
18.289 1.434
18.305 1.45
18.319 1.467
18.331 1.485
18.341 1.505
18.35 1.525
18.356 1.546
18.361 1.568
18.363 1.59
18.363 1.612
18.361 1.634
18.356 1.656
18.35 1.677
18.341 1.697
18.331 1.717
18.319 1.735
18.305 1.752
18.289 1.768
18.272 1.782
18.254 1.794
18.234 1.804
18.214 1.813
18.193 1.819
18.171 1.824
18.149 1.826
18.127 1.826
18.105 1.824
18.083 1.819
18.062 1.813
18.042 1.804
18.022 1.794
18.004 1.782
17.987 1.768
17.971 1.752
17.957 1.735
17.945 1.717
17.935 1.697
17.926 1.677
17.92 1.656
17.915 1.634
17.913 1.612
17.913 1.59
END
5 65 0 N 1134 1 1 100 100 0 0 0 Y
TLAYNAM In4.Cu INH
6.013 3.44
6.015 3.418
6.02 3.396
6.026 3.375
6.035 3.355
6.045 3.335
6.057 3.317
6.071 3.3
6.087 3.284
6.104 3.27
6.122 3.258
6.142 3.248
6.162 3.239
6.183 3.233
6.205 3.228
6.227 3.226
6.249 3.226
6.271 3.228
6.293 3.233
6.314 3.239
6.334 3.248
6.354 3.258
6.372 3.27
6.389 3.284
6.405 3.3
6.419 3.317
6.431 3.335
6.441 3.355
6.45 3.375
6.456 3.396
6.461 3.418
6.463 3.44
6.463 3.462
6.461 3.484
6.456 3.506
6.45 3.527
6.441 3.547
6.431 3.567
6.419 3.585
6.405 3.602
6.389 3.618
6.372 3.632
6.354 3.644
6.334 3.654
6.314 3.663
6.293 3.669
6.271 3.674
6.249 3.676
6.227 3.676
6.205 3.674
6.183 3.669
6.162 3.663
6.142 3.654
6.122 3.644
6.104 3.632
6.087 3.618
6.071 3.602
6.057 3.585
6.045 3.567
6.035 3.547
6.026 3.527
6.02 3.506
6.015 3.484
6.013 3.462
6.013 3.44
END
5 122 0 N 1138 1 1 100 100 0 0 0 Y
TLAYNAM In4.Cu INH
21 4.64
21 0.46
21 0
18.138 0
18.138 1.246
18.248 1.263
18.347 1.314
18.425 1.392
18.476 1.491
18.493 1.601
18.476 1.711
18.425 1.81
18.402 1.833
18.384 1.876
18.402 1.919
18.425 1.942
18.476 2.041
18.493 2.151
18.476 2.261
18.425 2.36
18.347 2.438
18.321 2.451
18.248 2.489
18.138 2.506
18.028 2.489
17.965 2.456
17.929 2.438
17.86 2.369
17.817 2.351
17.8 2.351
17.8 1.998315789
17.802 1.998
17.838 1.967
17.851 1.942
17.874 1.919
17.892 1.876
17.874 1.833
17.851 1.81
17.813 1.735
17.801 1.719
17.8 1.718581395
17.8 1.351
17.867 1.351
17.91 1.333
17.929 1.314
18.028 1.263
18.138 1.246
18.138 0
0 0
0 3.277166667
0 3.84
0 5
6.238 5
6.238 3.806
6.128 3.789
6.103 3.776
6.029 3.738
6.01 3.719
5.967 3.701
5.9 3.701
5.9 3.201
5.967 3.201
6.01 3.183
6.029 3.164
6.128 3.113
6.238 3.096
6.238 2.806
6.128 2.789
6.103 2.776
6.029 2.738
6.01 2.719
5.967 2.701
5.9 2.701
5.9 2.201
5.967 2.201
6.01 2.183
6.029 2.164
6.128 2.113
6.238 2.096
6.348 2.113
6.447 2.164
6.466 2.183
6.473 2.186
6.503 2.216
6.506 2.223
6.525 2.242
6.576 2.341
6.593 2.451
6.576 2.561
6.525 2.66
6.506 2.679
6.503 2.686
6.473 2.716
6.466 2.719
6.447 2.738
6.378 2.773
6.348 2.789
6.238 2.806
6.238 2.806
6.238 3.096
6.348 3.113
6.447 3.164
6.466 3.183
6.473 3.186
6.503 3.216
6.506 3.223
6.525 3.242
6.576 3.341
6.593 3.451
6.576 3.561
6.525 3.66
6.506 3.679
6.503 3.686
6.473 3.716
6.466 3.719
6.447 3.738
6.378 3.773
6.348 3.789
6.238 3.806
6.238 5
21 5
21 4.64
END
6 150 2 N 674 1 1 100 100 0 0 0 Y
TLAYNAM B.Cu_thick INH
6.013 2.44
6.015 2.418
6.02 2.396
6.026 2.375
6.035 2.355
6.045 2.335
6.057 2.317
6.071 2.3
6.087 2.284
6.104 2.27
6.122 2.258
6.142 2.248
6.162 2.239
6.183 2.233
6.205 2.228
6.227 2.226
6.249 2.226
6.271 2.228
6.293 2.233
6.314 2.239
6.334 2.248
6.354 2.258
6.372 2.27
6.389 2.284
6.405 2.3
6.419 2.317
6.431 2.335
6.441 2.355
6.45 2.375
6.456 2.396
6.461 2.418
6.463 2.44
6.463 2.462
6.461 2.484
6.456 2.506
6.45 2.527
6.441 2.547
6.429 2.571
6.659 2.801
10.526 2.801
11.581 1.746
11.584 1.742
11.596 1.733
11.6 1.731
11.605 1.729
11.609 1.727
11.614 1.726
17.942 1.726
17.947 1.721
17.935 1.697
17.926 1.677
17.92 1.656
17.915 1.634
17.913 1.612
17.913 1.59
17.915 1.568
17.92 1.546
17.926 1.525
17.935 1.505
17.945 1.485
17.957 1.467
17.971 1.45
17.987 1.434
18.004 1.42
18.022 1.408
18.042 1.398
18.062 1.389
18.083 1.383
18.105 1.378
18.127 1.376
18.149 1.376
18.171 1.378
18.193 1.383
18.214 1.389
18.234 1.398
18.254 1.408
18.272 1.42
18.289 1.434
18.305 1.45
18.319 1.467
18.331 1.485
18.341 1.505
18.35 1.525
18.356 1.546
18.361 1.568
18.363 1.59
18.363 1.612
18.361 1.634
18.356 1.656
18.35 1.677
18.341 1.697
18.331 1.717
18.319 1.735
18.305 1.752
18.289 1.768
18.272 1.782
18.254 1.794
18.234 1.804
18.214 1.813
18.193 1.819
18.171 1.824
18.149 1.826
18.127 1.826
18.105 1.824
18.083 1.819
18.062 1.813
18.042 1.804
18.018 1.792
17.997 1.813
17.989 1.819
17.984 1.821
17.98 1.823
17.975 1.825
17.97 1.826
11.643 1.826
10.581 2.888
10.573 2.894
10.568 2.896
10.564 2.898
10.559 2.9
10.554 2.901
6.631 2.901
6.626 2.9
6.621 2.898
6.617 2.896
6.612 2.894
6.604 2.888
6.358 2.642
6.334 2.654
6.314 2.663
6.293 2.669
6.271 2.674
6.249 2.676
6.227 2.676
6.205 2.674
6.183 2.669
6.162 2.663
6.142 2.654
6.122 2.644
6.104 2.632
6.087 2.618
6.071 2.602
6.057 2.585
6.045 2.567
6.035 2.547
6.026 2.527
6.02 2.506
6.015 2.484
6.013 2.462
6.013 2.44
END
6 150 2 N 675 1 1 100 100 0 0 0 Y
TLAYNAM B.Cu_thick INH
6.013 3.44
6.015 3.418
6.02 3.396
6.026 3.375
6.035 3.355
6.045 3.335
6.057 3.317
6.071 3.3
6.087 3.284
6.104 3.27
6.122 3.258
6.142 3.248
6.162 3.239
6.183 3.233
6.205 3.228
6.227 3.226
6.249 3.226
6.271 3.228
6.293 3.233
6.314 3.239
6.334 3.248
6.358 3.26
6.597 3.021
6.6 3.017
6.612 3.008
6.616 3.006
6.621 3.004
6.625 3.002
6.63 3.001
10.608 3.001
11.67 1.939
11.678 1.933
11.683 1.931
11.687 1.929
11.692 1.927
11.697 1.926
17.97 1.926
17.975 1.927
17.98 1.929
17.984 1.931
17.989 1.933
17.997 1.939
18.018 1.96
18.042 1.948
18.062 1.939
18.083 1.933
18.105 1.928
18.127 1.926
18.149 1.926
18.171 1.928
18.193 1.933
18.214 1.939
18.234 1.948
18.254 1.958
18.272 1.97
18.289 1.984
18.305 2
18.319 2.017
18.331 2.035
18.341 2.055
18.35 2.075
18.356 2.096
18.361 2.118
18.363 2.14
18.363 2.162
18.361 2.184
18.356 2.206
18.35 2.227
18.341 2.247
18.331 2.267
18.319 2.285
18.305 2.302
18.289 2.318
18.272 2.332
18.254 2.344
18.234 2.354
18.214 2.363
18.193 2.369
18.171 2.374
18.149 2.376
18.127 2.376
18.105 2.374
18.083 2.369
18.062 2.363
18.042 2.354
18.022 2.344
18.004 2.332
17.987 2.318
17.971 2.302
17.957 2.285
17.945 2.267
17.935 2.247
17.926 2.227
17.92 2.206
17.915 2.184
17.913 2.162
17.913 2.14
17.915 2.118
17.92 2.096
17.926 2.075
17.935 2.055
17.947 2.031
17.942 2.026
11.725 2.026
10.663 3.088
10.655 3.094
10.65 3.096
10.646 3.098
10.641 3.1
10.636 3.101
6.659 3.101
6.429 3.331
6.441 3.355
6.45 3.375
6.456 3.396
6.461 3.418
6.463 3.44
6.463 3.462
6.461 3.484
6.456 3.506
6.45 3.527
6.441 3.547
6.431 3.567
6.419 3.585
6.405 3.602
6.389 3.618
6.372 3.632
6.354 3.644
6.334 3.654
6.314 3.663
6.293 3.669
6.271 3.674
6.249 3.676
6.227 3.676
6.205 3.674
6.183 3.669
6.162 3.663
6.142 3.654
6.122 3.644
6.104 3.632
6.087 3.618
6.071 3.602
6.057 3.585
6.045 3.567
6.035 3.547
6.026 3.527
6.02 3.506
6.015 3.484
6.013 3.462
6.013 3.44
END
END GEO
OPT
MAX 100
END OPT
VARSWP
ENABLED Y
FREQ Y AY ABS_ENTRY 0.01 20.0 -1 300 
END
END VARSWP
```
